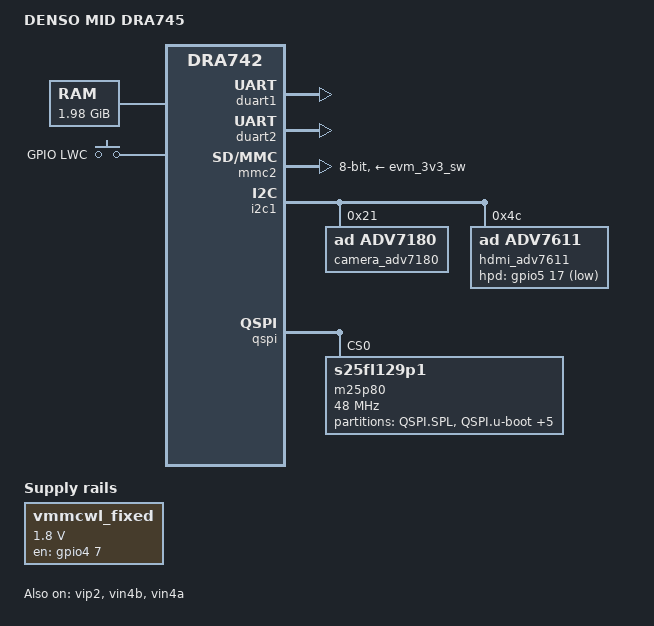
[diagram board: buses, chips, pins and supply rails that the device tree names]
/*
 * Copyright (C) 2013 Texas Instruments Incorporated - http://www.ti.com/
 *
 * This program is free software; you can redistribute it and/or modify
 * it under the terms of the GNU General Public License version 2 as
 * published by the Free Software Foundation.
 */
/dts-v1/;

#include "dra74x.dtsi"
#include <dt-bindings/interrupt-controller/irq.h>
#include <dt-bindings/gpio/gpio.h>
#include <dt-bindings/clk/ti-dra7-atl.h>
#include "dra7-densoJ6.dtsi"
#include "dra7-gen1Display.dtsi"

/ {

	model = "DENSO MID DRA745";
	compatible = "denso,dra74xmid", "ti,dra742", "ti,dra74", "ti,dra7";

	memory {
		device_type = "memory";
		reg = <0x0 0x80000000 0x0 0x7F000000>; /* 2Gbyte = 2048 MB -16MB for alignment calcs */
	};

	vmmcwl_fixed: fixedregulator-mmcwl {
		compatible = "regulator-fixed";
		regulator-name = "vmmcwl_fixed";
		regulator-min-microvolt = <1800000>;
		regulator-max-microvolt = <1800000>;
		gpio = <&gpio4 7 0>;	/* gpio4_7 Denso WiFi Enabled */
		startup-delay-us = <70000>;
		enable-active-high;
	};

	aliases {
		serial11 = &duart1;
		serial12 = &duart2;
	};

	gpio_keys_polled {
		compatible = "gpio-keys-polled";
		#address-cells = <1>;
		#size-cells = <0>;
		poll-interval = <100>;
		status = "okay";
		button-lwc {
			label = "GPIO LWC";
			linux,code = <68>; /* KEY_F10 */
			lwc-gpios = <501 GPIO_ACTIVE_LOW>;
		};
	};

	duart1: serial@03000000 {
		compatible = "ti,tl16c752-uart";
		reg = <0x0 0x03000000 0x0 0x40>;
		clock-frequency = <14745600>;
		/* irq setup */
		interrupt-controller;
		interrupt-parent = <&gpio6>;
		interrupts = <8 IRQ_TYPE_EDGE_RISING>;
		interrupt-names = "duart1 int";
		#interrupt-cells = <2>;
		status = "okay";
	};

	duart2: serial@07000000 {
		compatible = "ti,tl16c752-uart";
		reg = <0x0 0x07000000 0x0 0x40>;
		clock-frequency = <14745600>;
		/* irq setup */
		interrupt-controller;
		interrupt-parent = <&gpio6>;
		interrupts = <9 IRQ_TYPE_EDGE_RISING>;
		interrupt-names = "duart2 int";
		#interrupt-cells = <2>;
		status = "okay";
	};
};

&mmc2 {
	status = "okay";
	vmmc-supply = <&evm_3v3_sw>;
	bus-width = <8>;
	pinctrl-names = "default", "hs", "hs200";
	pinctrl-0 = <&mmc2_pins_default>;
	pinctrl-1 = <&mmc2_pins_hs>;
	pinctrl-2 = <&mmc2_pins_hs200 &mmc2_iodelay_hs200_conf>;
	mmc-hs200-1_8v;
	max-frequency = <192000000>;
};

&i2c1 {
	camera_adv7180: camera_adv7180 {
		compatible = "ad,adv7180";
		reg = <0x21>;
		/*gpios = <&gpio5 25 0>;   only one if IRQ is being used */
		/* interrupts = <27 0x8>; Invalid value */

		port {
			adv7180: endpoint@0 {
				// No props incase of BT656
				hsync-active = <0>; /* This signal is embedded */
				vsync-active = <0>; /* This signal is embedded */
				/* bus-width = <8>; John thinks this is not needed */
			};
		};
	};

	hdmi_adv7611: hdmi_adv7611 {
		compatible = "ad,adv7611";
		reg = <0x4c>;

		hpd-gpios = <&gpio5 17 GPIO_ACTIVE_LOW>;

		#address-cells = <1>;
		#size-cells = <0>;

		port {
			reg = <0>;
			adv7611: endpoint {
			  //remote-endpoint = <&vin4a>;
				hsync-active = <0>; /* This signal is discrete */
				vsync-active = <0>; /* This signal is discrete */
                                bus-width = <24>;
			}; /* end of adv7611:endpoint */
		};   /* end of port */
	};    /* end of hdmi_adv7611:hdmi_adv7611 */
};

&voltdm_mpu {
	vdd-supply = <&smps12_reg>;
};

&qspi {
	status = "okay";

	spi-max-frequency = <48000000>;
	m25p80@0 {
		compatible = "s25fl129p1";
		spi-max-frequency = <48000000>;
		reg = <0>;
		spi-tx-bus-width = <1>;
		spi-rx-bus-width = <4>;
		spi-cpol;
		spi-cpha;
		#address-cells = <1>;
		#size-cells = <1>;

		/* MTD partition table.
		 * The ROM checks the first four physical blocks
		 * for a valid file to boot and the flash here is
		 * 64KiB block size.
		 */
		partition@0 {
			label = "QSPI.SPL";
			reg = <0x00000000 0x000050000>;
		};
		partition@1 {
			label = "QSPI.u-boot";
			reg = <0x00080000 0x00080000>;
		};
		partition@2 {
			label = "QSPI.denso-primary";
			reg = <0x00fd0000 0x00010000>;
		};
		partition@3 {
			label = "QSPI.denso-secondary";
			reg = <0x00fe0000 0x00010000>;
		};
		partition@4 {
			label = "QSPI.denso-readonly";
			reg = <0x00ff0000 0x00010000>;
		};
		partition@5 {
			label = "QSPI.denso-bootflags";
			reg = <0x00fc0000 0x00010000>;
		};
		partition@6 {
			label = "QSPI.denso-otp";
			/* Secure Silicon Sector
			 *   Document: S25FL256S.pdf
			 *   Table 8.7
			 *   Page: 58
			 *	 Valid Sector: 0x00 - 0x3FF
			 */
			reg = <0x00000000 0x00010000>;
		};
	};
};

&dra7_pmx_core {
	/* NTSC camera pins */
	vin4b_pins: pinmux_vin4b_pins {
		pinctrl-single,pins = <
			0x23C (PIN_INPUT | MUX_MODE5) /*0x00040005*/ /* CTRL_CORE_PAD_MDIO_MCLK    0x4A00363C 0x5: vin4b_clk1*/
			0x25C (PIN_INPUT | MUX_MODE5) /*0x00040005*/ /* CTRL_CORE_PAD_RGMII0_TXD2  0x4A00365C 0x5: vin4b_hsync1*/
			0x260 (PIN_INPUT | MUX_MODE5) /*0x00040005*/ /* CTRL_CORE_PAD_RGMII0_TXD1  0x4A003660 0x5: vin4b_vsync1*/
			0x240 (PIN_INPUT | MUX_MODE5) /*0x00040005*/ /* CTRL_CORE_PAD_MDIO_D       0x4A003640 0x5: vin4b_d0 */
			0x248 (PIN_INPUT | MUX_MODE5) /*0x00040005*/ /* CTRL_CORE_PAD_UART3_RXD    0x4A003648 0x5: vin4b_d1 */
			0x24C (PIN_INPUT | MUX_MODE5) /*0x00040005*/ /* CTRL_CORE_PAD_UART3_TXD    0x4A00364C 0x5: vin4b_d2 */
			0x250 (PIN_INPUT | MUX_MODE5) /*0x00040005*/ /* CTRL_CORE_PAD_RGMII0_TXC   0x4A003650 0x5: vin4b_d3 */
			0x254 (PIN_INPUT | MUX_MODE5) /*0x00040005*/ /* CTRL_CORE_PAD_RGMII0_TXCTL 0x4A003654 0x5: vin4b_d4 */
			0x268 (PIN_INPUT | MUX_MODE5) /*0x00040005*/ /* CTRL_CORE_PAD_RGMII0_RXC   0x4A003668 0x5: vin4b_d5 */
			0x26C (PIN_INPUT | MUX_MODE5) /*0x00040005*/ /* CTRL_CORE_PAD_RGMII0_RXCTL 0x4A00366C 0x5: vin4b_d6 */
			0x270 (PIN_INPUT | MUX_MODE5) /*0x00040005*/ /* CTRL_CORE_PAD_RGMII0_RXD3  0x4A003670 0x5: vin4b_d7 */
			0x258 (PIN_INPUT | MUX_MODE5) /*0x00040005*/ /* CTRL_CORE_PAD_RGMII0_TXD3  0x4A003658 0x5: vin4b_de1*/
			0x27C (PIN_INPUT | MUX_MODE5) /*0x00040005*/ /* CTRL_CORE_PAD_RGMII0_RXD0  0x4A00367C 0x5: vin4b_fld1*/
		>;
	};

	vout1_pins: pinmux_vout1_pins {
		pinctrl-single,pins = <
			0x1C8	(PIN_OUTPUT | MANUAL_MODE | MUX_MODE0)	/* vout1_clk */
			0x1CC	(PIN_OUTPUT | MANUAL_MODE | MUX_MODE0)	/* vout1_de */
			/*0x1D0	(PIN_OUTPUT | MANUAL_MODE | MUX_MODE0)    vout1_fld */
			0x1D4	(PIN_OUTPUT | MANUAL_MODE | MUX_MODE0)	/* vout1_hsync */
			0x1D8	(PIN_OUTPUT | MANUAL_MODE | MUX_MODE0)	/* vout1_vsync */
			0x1DC	(PIN_OUTPUT | MANUAL_MODE | MUX_MODE0)	/* vout1_d0 */
			0x1E0	(PIN_OUTPUT | MANUAL_MODE | MUX_MODE0)	/* vout1_d1 */
			0x1E4	(PIN_OUTPUT | MANUAL_MODE | MUX_MODE0)	/* vout1_d2 */
			0x1E8	(PIN_OUTPUT | MANUAL_MODE | MUX_MODE0)	/* vout1_d3 */
			0x1EC	(PIN_OUTPUT | MANUAL_MODE | MUX_MODE0)	/* vout1_d4 */
			0x1F0	(PIN_OUTPUT | MANUAL_MODE | MUX_MODE0)	/* vout1_d5 */
			0x1F4	(PIN_OUTPUT | MANUAL_MODE | MUX_MODE0)	/* vout1_d6 */
			0x1F8	(PIN_OUTPUT | MANUAL_MODE | MUX_MODE0)	/* vout1_d7 */
			0x1FC	(PIN_OUTPUT | MANUAL_MODE | MUX_MODE0)	/* vout1_d8 */
			0x200	(PIN_OUTPUT | MANUAL_MODE | MUX_MODE0)	/* vout1_d9 */
			0x204	(PIN_OUTPUT | MANUAL_MODE | MUX_MODE0)	/* vout1_d10 */
			0x208	(PIN_OUTPUT | MANUAL_MODE | MUX_MODE0)	/* vout1_d11 */
			0x20C	(PIN_OUTPUT | MANUAL_MODE | MUX_MODE0)	/* vout1_d12 */
			0x210	(PIN_OUTPUT | MANUAL_MODE | MUX_MODE0)	/* vout1_d13 */
			0x214	(PIN_OUTPUT | MANUAL_MODE | MUX_MODE0)	/* vout1_d14 */
			0x218	(PIN_OUTPUT | MANUAL_MODE | MUX_MODE0)	/* vout1_d15 */
			0x21C	(PIN_OUTPUT | MANUAL_MODE | MUX_MODE0)	/* vout1_d16 */
			0x220	(PIN_OUTPUT | MANUAL_MODE | MUX_MODE0)	/* vout1_d17 */
			0x224	(PIN_OUTPUT | MANUAL_MODE | MUX_MODE0)	/* vout1_d18 */
			0x228	(PIN_OUTPUT | MANUAL_MODE | MUX_MODE0)	/* vout1_d19 */
			0x22C	(PIN_OUTPUT | MANUAL_MODE | MUX_MODE0)	/* vout1_d20 */
			0x230	(PIN_OUTPUT | MANUAL_MODE | MUX_MODE0)	/* vout1_d21 */
			0x234	(PIN_OUTPUT | MANUAL_MODE | MUX_MODE0)	/* vout1_d22 */
			0x238	(PIN_OUTPUT | MANUAL_MODE | MUX_MODE0)	/* vout1_d23 */
		>;
	};
};

&vip2 {
	status = "okay";
//	pinctrl-names = "default";
//	pinctrl-0 = <&vin4b_pins>;
};
&vin4b {
	status = "okay";
	endpoint@0 {
		slave-mode;
		remote-endpoint = <&adv7180>;
	};
};

/* HDMI adv7611 sit on vip2, vin4a */
&vin4a {
	status = "okay";
	endpoint@0 {
		slave-mode;
		remote-endpoint = <&adv7611>;   /* &adv7611 match compatible = "ad,adv7611" */
	};
};

&dss {
	pinctrl-0 = <&vout1_pins &dss_vout1_manual1_conf>;
};
